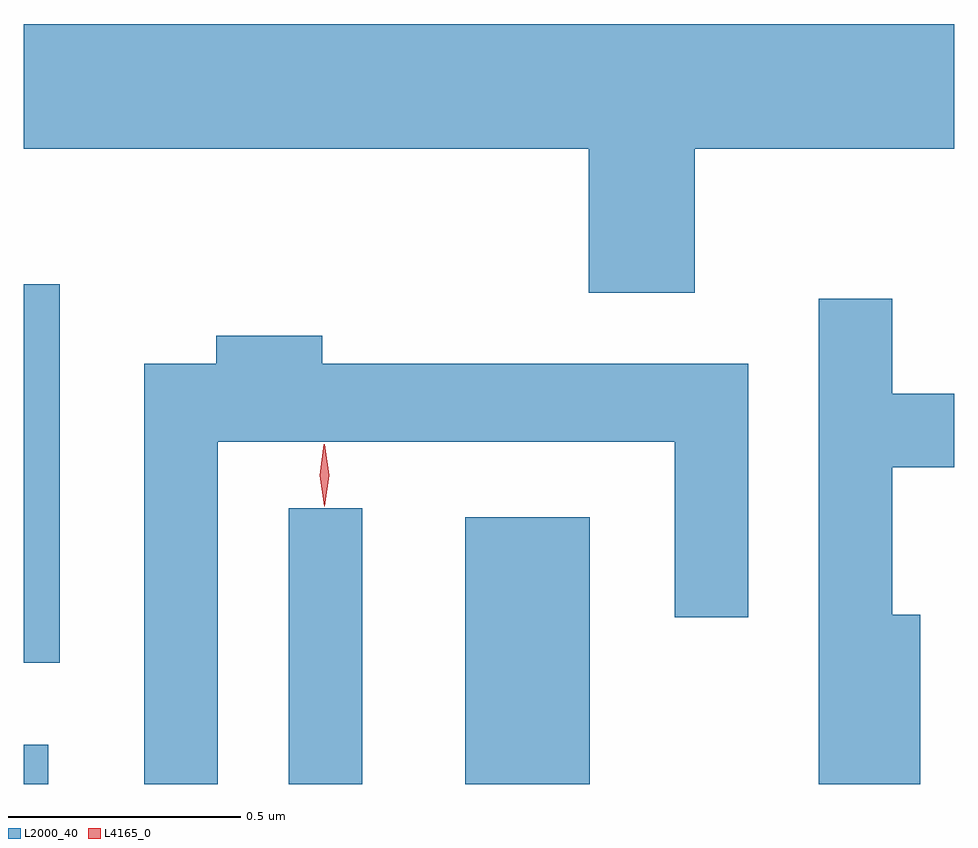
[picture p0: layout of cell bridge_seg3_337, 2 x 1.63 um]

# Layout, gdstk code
import gdstk
lib = gdstk.Library(unit=1e-6, precision=1e-09)
def R(c, l, rs):  # rectangles x0, y0, x1, y1
    for r in rs: c.add(gdstk.rectangle(r[:2], r[2:], *l))
def P(c, l, *ps):  # polygons
    for p in ps: c.add(gdstk.Polygon(p, *l))
L2000_40 = (2000, 40)
L4165_0 = (4165, 0)

bridge_seg3_337 = lib.new_cell('bridge_seg3_337')
R(bridge_seg3_337, L2000_40, [(551.007,1235.65,551.059,1235.734), (551.576,1235.65,551.734,1236.243), (551.956,1235.65,552.224,1236.224), (551.007,1235.911,551.084,1236.724)])
P(bridge_seg3_337, L2000_40, [(552.449,1237.016),(553.007,1237.016),(553.007,1237.284),(551.007,1237.284),(551.007,1237.016),(552.221,1237.016),(552.221,1236.706),(552.449,1236.706)],
  [(552.934,1236.014),(552.874,1236.014),(552.874,1236.331),(553.007,1236.331),(553.007,1236.489),(552.874,1236.489),(552.874,1236.693),(552.716,1236.693),(552.716,1235.65),(552.934,1235.65)],
  [(551.424,1236.386),(552.406,1236.386),(552.406,1236.008),(552.564,1236.008),(552.564,1236.554),(551.649,1236.554),(551.649,1236.614),(551.421,1236.614),(551.421,1236.554),(551.266,1236.554),(551.266,1235.65),(551.424,1235.65)])
P(bridge_seg3_337, L4165_0, [(551.653,1236.247),(551.643,1236.314),(551.652,1236.38),(551.653,1236.38),(551.654,1236.38),(551.663,1236.314),(551.654,1236.247),(551.654,1236.247)])

lib.write_gds('bridge_seg3_337.gds')
